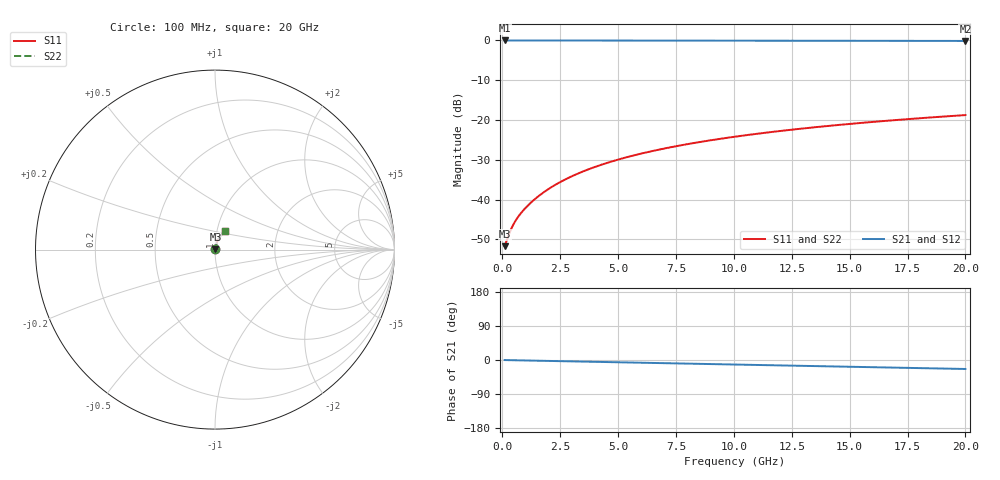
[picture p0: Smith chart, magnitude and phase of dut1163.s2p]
! Touchstone file exported from HFSS 2026.1.0
!  File:  C:/ffzhzh/LocalFiles/Ansys_Project_Files/temp_train_BSMRDL_1163_1783175833_18472.aedt
!  Generated:  10:38:23 PM Jul  4, 2026
!  Design:  BSMRDL
!  Project:  temp_train_BSMRDL_1163_1783175833_18472
! Variables:
!  h_bsmrdl = 2.57um
!  h_ox = 20um
!  h_rdl = 5um
!  h_sub = 80um
!  h_tmrdl = 5um
!  h_tsv = 80um
!  h_via = 3um
!  l_bsmrdl = 385.17um
!  l_sub = 785.17um
!  l_tmrdl = 200um
!  m_sub = 200um
!  pitch = 34.07um
!  r_tsv = 6um
!  s_tmrdl = 10um
!  w_bsmrdl = 25.45um
!  w_sub = 500um
!  w_tmrdl = 12um
!  x_tsv_center1 = 206um
!  x_tsv_center2 = 616.62um
!  x_tsv_center3 = 828.62um
!  x_tsv_center4 = 1239.24um
!  x_tsv_center5 = 1451.24um
!  x_tsv_center6 = 1861.86um
# GHz S MA R 50.000000
! Terminal data exported
! Port[1] = BSM_RDL1_1_T1
! Port[2] = BSM_RDL1_1_T2
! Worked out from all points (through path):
!   200 points, 100 MHz to 20 GHz, reference 50 ohm
!   highest |S21| = -0.02 dB at 100 MHz (marker M1); lowest = -0.1 dB at 20 GHz (marker M2)
!   group delay of S21, straight-line fit = 3.29 ps
!   lowest |S11| = -51.7 dB at 100 MHz (marker M3), VSWR 1.01, Z = 50.2 + j0.0903 ohm
!   |S11| at or under -10 dB: start of sweep to end of sweep
!   |S22| runs from -51.7 to -18.8 dB; largest |S21 - S12| = 5.3e-15
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0.1  0.002591 20.3  0.9976 -0.1  0.9976 -0.1  0.002591 20.3
! Gamma 0 0 0 0
! Port Impedance 50 0 50 0
0.3  0.003737 42.5  0.9973 -0.4  0.9973 -0.4  0.003737 42.5
0.4  0.004373 47.6  0.9971 -0.5  0.9971 -0.5  0.004374 47.6
0.5  0.004987 51.1  0.9969 -0.6  0.9969 -0.6  0.004987 51.1
0.6  0.005576 53.9  0.9968 -0.8  0.9968 -0.8  0.005576 53.9
0.8  0.006707 58.1  0.9966 -1.0  0.9966 -1.0  0.006708 58.1
1  0.00782 61.5  0.9964 -1.2  0.9964 -1.2  0.007821 61.5
1.2  0.008939 64.2  0.9963 -1.5  0.9963 -1.5  0.00894 64.2
1.7  0.01181 68.9  0.9961 -2.1  0.9961 -2.1  0.01181 68.9
2.2  0.01476 71.7  0.996 -2.7  0.996 -2.7  0.01476 71.7
2.8  0.01837 73.7  0.9958 -3.4  0.9958 -3.4  0.01837 73.7
3.5  0.02261 74.9  0.9955 -4.2  0.9955 -4.2  0.02261 74.9
4.2  0.02687 75.4  0.9952 -5.1  0.9952 -5.1  0.02688 75.4
5  0.03174 75.5  0.9949 -6.0  0.9949 -6.0  0.03174 75.5
5.9  0.03717 75.3  0.9944 -7.1  0.9944 -7.1  0.03718 75.2
6.8  0.04257 74.8  0.9939 -8.2  0.9939 -8.2  0.04257 74.7
8.3  0.05144 73.6  0.9929 -10.0  0.9929 -10.0  0.05145 73.6
10.1  0.06188 71.9  0.9916 -12.1  0.9916 -12.1  0.06188 71.9
11.7  0.07096 70.3  0.9904 -14.0  0.9904 -14.0  0.07096 70.3
13.4  0.0804 68.6  0.9891 -16.0  0.9891 -16.0  0.08041 68.5
16.7  0.09815 65.1  0.9864 -19.9  0.9864 -19.9  0.09816 65.0
20  0.1151 61.6  0.9836 -23.7  0.9836 -23.7  0.1151 61.5
